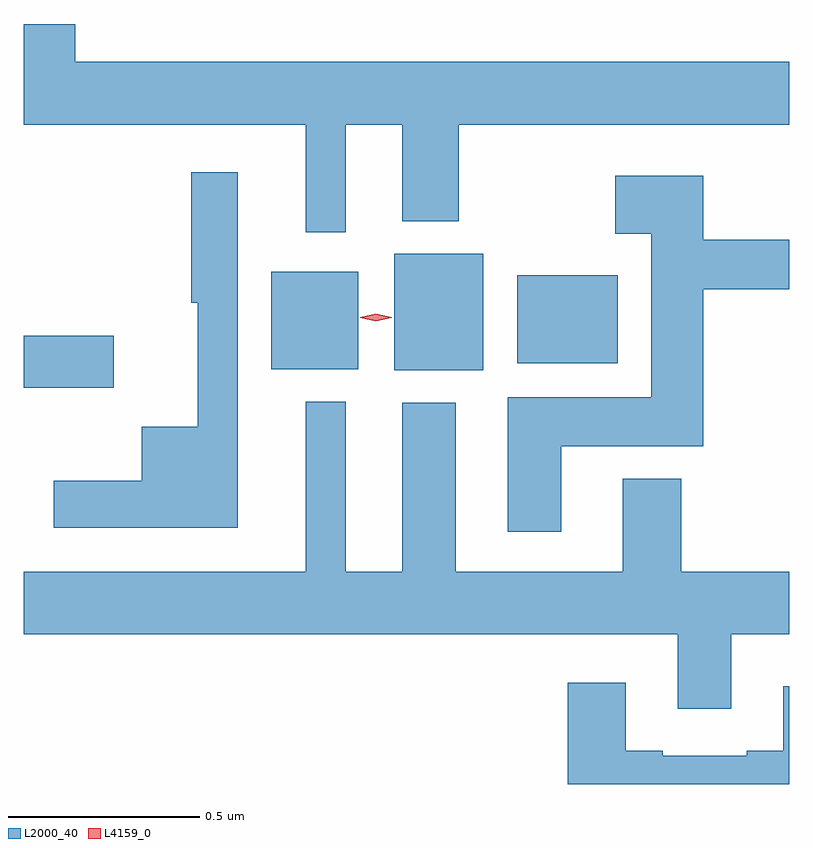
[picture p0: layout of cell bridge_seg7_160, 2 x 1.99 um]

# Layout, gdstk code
import gdstk
lib = gdstk.Library(unit=1e-6, precision=1e-09)
def R(c, l, rs):  # rectangles x0, y0, x1, y1
    for r in rs: c.add(gdstk.rectangle(r[:2], r[2:], *l))
def P(c, l, *ps):  # polygons
    for p in ps: c.add(gdstk.Polygon(p, *l))
L2000_40 = (2000, 40)
L4159_0 = (4159, 0)

bridge_seg7_160 = lib.new_cell('bridge_seg7_160')
R(bridge_seg7_160, L2000_40, [(522.252,1026.569,522.487,1026.704), (523.22,1026.614,523.453,1026.919), (522.899,1026.617,523.126,1026.871), (523.541,1026.632,523.804,1026.862)])
P(bridge_seg7_160, L2000_40, [(523.093,1027.256),(523.241,1027.256),(523.241,1027.004),(523.389,1027.004),(523.389,1027.256),(524.252,1027.256),(524.252,1027.42),(522.386,1027.42),(522.386,1027.519),(522.252,1027.519),(522.252,1027.256),(522.989,1027.256),(522.989,1026.975),(523.093,1026.975)],
  [(522.811,1027.132),(522.69,1027.132),(522.69,1026.791),(522.707,1026.791),(522.707,1026.466),(522.56,1026.466),(522.56,1026.325),(522.33,1026.325),(522.33,1026.203),(522.811,1026.203)],
  [(523.657,1026.416),(524.027,1026.416),(524.027,1026.826),(524.252,1026.826),(524.252,1026.955),(524.027,1026.955),(524.027,1027.123),(523.797,1027.123),(523.797,1026.971),(523.892,1026.971),(523.892,1026.544),(523.517,1026.544),(523.517,1026.192),(523.657,1026.192)],
  [(524.101,1025.924),(524.252,1025.924),(524.252,1026.088),(523.97,1026.088),(523.97,1026.331),(523.817,1026.331),(523.817,1026.088),(523.381,1026.088),(523.381,1026.529),(523.241,1026.529),(523.241,1026.088),(523.093,1026.088),(523.093,1026.532),(522.989,1026.532),(522.989,1026.088),(522.252,1026.088),(522.252,1025.924),(523.961,1025.924),(523.961,1025.73),(524.101,1025.73)],
  [(524.252,1025.788),(524.237,1025.788),(524.237,1025.62),(524.141,1025.62),(524.141,1025.607),(523.921,1025.607),(523.921,1025.62),(523.825,1025.62),(523.825,1025.797),(523.673,1025.797),(523.673,1025.533),(524.252,1025.533)])
P(bridge_seg7_160, L4159_0, [(523.172,1026.742),(523.131,1026.752),(523.131,1026.752),(523.131,1026.753),(523.172,1026.762),(523.214,1026.753),(523.214,1026.752),(523.214,1026.752)])

lib.write_gds('bridge_seg7_160.gds')
